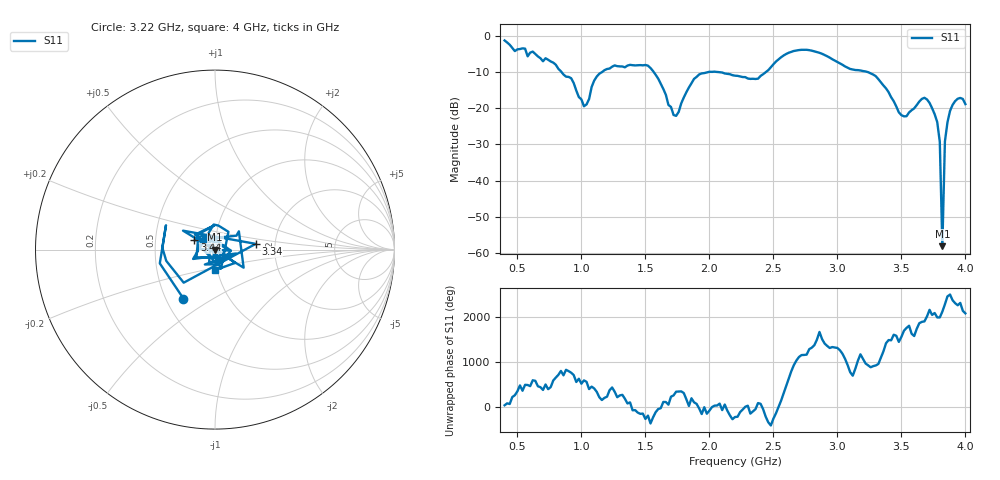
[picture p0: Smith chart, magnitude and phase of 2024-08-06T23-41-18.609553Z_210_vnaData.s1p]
!Created with skrf (http://scikit-rf.org).
# Hz S RI R 50.0
!freq ReS11 ImS11
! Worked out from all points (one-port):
!   181 points, 400 MHz to 4 GHz, reference 50 ohm
!   lowest |S11| = -58.2 dB at 3.82 GHz (marker M1), VSWR 1.00, Z = 50.1 - j0.0948 ohm
!   |S11| at or under -10 dB: 1.566 GHz to 1.986 GHz (419.4 MHz wide, 23.6 % of centre); 2.083 GHz to 2.439 GHz (355.7 MHz wide, 15.7 % of centre); 3.241 GHz to end of sweep (the widest 3 of 4)
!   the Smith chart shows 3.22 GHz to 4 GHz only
!   S11 on the Smith chart (normalised r, x): 3.22 GHz: 0.61, -0.37; 3.34 GHz: 1.58, +0.11; 3.44 GHz: 0.79, +0.08; 4 GHz: 0.98, -0.23
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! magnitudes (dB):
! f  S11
! 400 MHz  -1.2
! 860 MHz  -10.6
! 920 MHz  -11.7
! 1.02 GHz  -19.4
! 1.12 GHz  -11.2
! 1.3 GHz  -8.4
! 1.52 GHz  -8.2
! 1.6 GHz  -11.8
! 1.72 GHz  -21.8
! 1.76 GHz  -21.0
! 1.92 GHz  -10.6
! 2.2 GHz  -11.0
! 2.38 GHz  -11.8
! 2.66 GHz  -4.1
! 3.1 GHz  -9.1
! 3.22 GHz  -9.8
! 3.34 GHz  -12.8
! 3.44 GHz  -18.0
! 3.5 GHz  -21.9
! 3.56 GHz  -21.1
! 3.68 GHz  -17.1
! 3.78 GHz  -23.8
! 3.8 GHz  -29.3
! 3.82 GHz  -58.2
! 3.84 GHz  -29.2
! 3.86 GHz  -23.9
! 3.92 GHz  -18.0
! 4 GHz  -18.8
